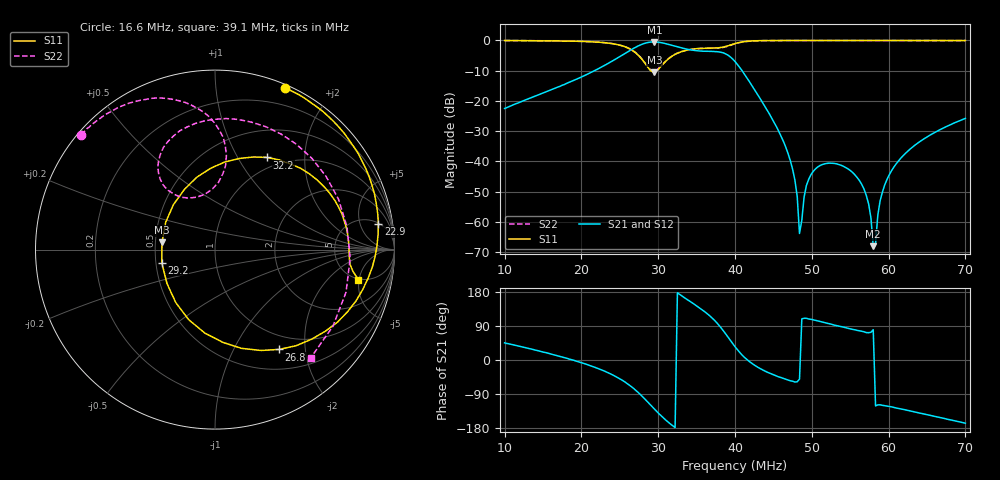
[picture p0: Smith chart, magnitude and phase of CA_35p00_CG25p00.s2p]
#  HZ  S  RI  R  50.00
! Rohde & Schwarz ZVT8 8Ports - Version 4.11 - 1300.0000k08 SN: 100242
! Date: 2026-07-31 14:45:05
! Measurements: S11 S21 S12 S22
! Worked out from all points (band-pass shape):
!   201 points, 10 MHz to 70 MHz, reference 50 ohm
!   highest |S21| = -0.48 dB at 29.5 MHz (marker M1); lowest = -68.1 dB at 58 MHz (marker M2)
!   |S21| within 3 dB of the highest: 26.2 MHz to 35.38 MHz (9.176 MHz wide, 29.8 % of centre)
!   lowest |S11| = -10.5 dB at 29.5 MHz (marker M3), VSWR 1.85, Z = 27.1 + j2.46 ohm
!   |S11| at or under -10 dB: 29.05 MHz to 29.82 MHz (772.9 kHz wide, 2.63 % of centre)
!   |S22| runs from -10.2 to 0.0 dB; largest |S21 - S12| = 0.0028
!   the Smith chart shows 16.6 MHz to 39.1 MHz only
!   S11 on the Smith chart (normalised r, x): 16.6 MHz: 0.03, +1.53; 22.9 MHz: 5, +10; 26.8 MHz: 0.78, -1.54; 29.2 MHz: 0.54, -0.09; 32.2 MHz: 0.85, +1.34; 39.1 MHz: 4.77, -4.91
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1e7  -0.4022 0.9115  0.0526 0.0532  0.0525 0.0531  -0.9188 0.3865
1.66e7  0.3924 0.9005  0.1587 0.0357  0.1585 0.0352  -0.7471 0.6403
2.02e7  0.772 0.5749  0.2528 -0.0372  0.252 -0.037  -0.5805 0.7684
2.29e7  0.9104 0.1437  0.333 -0.18  0.3341 -0.1795  -0.3829 0.8372
2.68e7  0.3567 -0.5562  0.1909 -0.7157  0.1896 -0.7158  0.0244 0.665
2.92e7  -0.2967 -0.0729  -0.512 -0.7931  -0.5127 -0.7905  -0.055 0.3092
2.95e7  -0.2952 0.0414  -0.5998 -0.7313  -0.5984 -0.73  -0.1004 0.2921
3.01e7  -0.2318 0.2502  -0.7324 -0.5766  -0.7312 -0.5761  -0.1915 0.292
3.22e7  0.2898 0.5136  -0.8012 -0.0234  -0.8004 -0.0226  -0.314 0.4995
3.64e7  0.7439 0.0475  -0.35 0.5608  -0.3503 0.5594  0.3683 0.6438
3.91e7  0.799 -0.1713  0.2845 0.4942  0.2849 0.4933  0.5336 -0.6025
4e7  0.8404 -0.2888  0.3674 0.2581  0.367 0.2574  -0.0286 -0.8788
4.21e7  0.757 -0.6215  0.1861 -0.0244  0.1861 -0.0247  -0.896 -0.3846
4.66e7  0.2443 -0.9682  0.011 -0.0134  0.0109 -0.0133  -0.885 0.459
4.78e7  0.0977 -0.9931  0.00259 -0.00417  0.00259 -0.00408  -0.8204 0.5652
4.84e7  0.0238 -0.9978  0.000409 -0.000494  0.00045 -0.000537  -0.7891 0.6081
5.02e7  -0.1915 -0.9799  -0.00189 0.0066  -0.00193 0.00659  -0.695 0.7147
5.59e7  -0.7539 -0.6549  0.00111 0.00529  0.00112 0.00528  -0.4131 0.9069
5.74e7  -0.8547 -0.5159  0.000611 0.00188  0.000587 0.00186  -0.343 0.9356
5.8e7  -0.8865 -0.4564  6.97e-05 0.00039  7.54e-05 0.000378  -0.3154 0.9464
6.01e7  -0.968 -0.235  -0.00324 -0.00509  -0.00325 -0.00508  -0.2199 0.9721
7e7  -0.6276 0.7724  -0.0501 -0.0117  -0.0498 -0.0116  0.2119 0.9732
